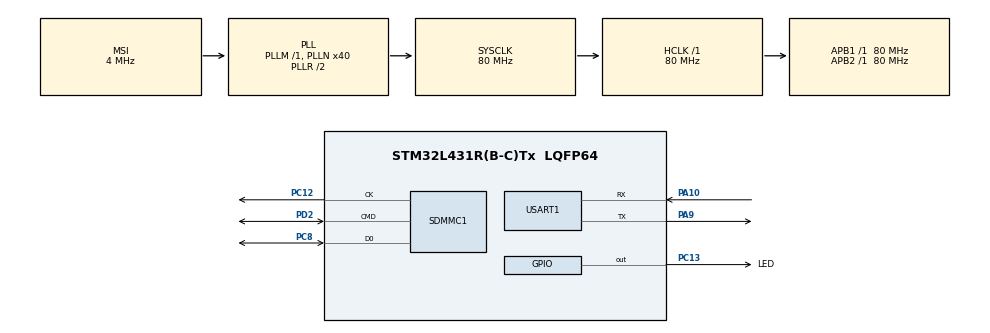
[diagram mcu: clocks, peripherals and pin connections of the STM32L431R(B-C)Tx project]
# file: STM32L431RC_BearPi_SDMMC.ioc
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Mcu.Family=STM32L4
Mcu.Name=STM32L431R(B-C)Tx
Mcu.Package=LQFP64
NVIC.PriorityGroup=NVIC_PRIORITYGROUP_4
PA10.Mode=Asynchronous
PA10.Signal=USART1_RX
PA9.Mode=Asynchronous
PA9.Signal=USART1_TX
PC12.Mode=SD_1_bit
PC12.Signal=SDMMC1_CK
PC13.GPIO_Label=LED
PC13.Signal=GPIO_Output
PC8.Mode=SD_1_bit
PC8.Signal=SDMMC1_D0
PD2.Mode=SD_1_bit
PD2.Signal=SDMMC1_CMD
ProjectManager.HeapSize=0x200
ProjectManager.StackSize=0x400
ProjectManager.TargetToolchain=MDK-ARM V5
RCC.ADCFreq_Value=48000000
RCC.AHBFreq_Value=80000000
RCC.APB1Freq_Value=80000000
RCC.APB1TimFreq_Value=80000000
RCC.APB2Freq_Value=80000000
RCC.APB2TimFreq_Value=80000000
RCC.CortexFreq_Value=80000000
RCC.HCLKFreq_Value=80000000
RCC.HSE_VALUE=8000000
RCC.HSI48_VALUE=48000000
RCC.HSI_VALUE=16000000
RCC.LSE_VALUE=32768
RCC.MSI_VALUE=4000000
RCC.PLLN=40
RCC.PLLSAI1N=24
RCC.PLLSAI1Q=RCC_PLLQ_DIV4
RCC.SYSCLKFreq_VALUE=80000000
RCC.SYSCLKSource=RCC_SYSCLKSOURCE_PLLCLK
RCC.VCOOutputFreq_Value=160000000
SDMMC1.ClockDiv=4
USART1.VirtualMode-Asynchronous=VM_ASYNC
board=custom

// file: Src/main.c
/* USER CODE BEGIN Header */
/**
  ******************************************************************************
  * @file           : main.c
  * @brief          : Main program body
  ******************************************************************************
  * @attention
  *
  * <h2><center>&copy; Copyright (c) 2020 STMicroelectronics.
  * All rights reserved.</center></h2>
  *
  * This software component is licensed by ST under BSD 3-Clause license,
  * the "License"; You may not use this file except in compliance with the
  * License. You may obtain a copy of the License at:
  *                        opensource.org/licenses/BSD-3-Clause
  *
  ******************************************************************************
  */
/* USER CODE END Header */

#include "main.h"
#include "sdmmc.h"
#include "usart.h"
#include "gpio.h"

/* USER CODE BEGIN Includes */
#include "stdio.h"
#include "string.h"
/* USER CODE END Includes */

/* USER CODE BEGIN PV */
HAL_SD_CardCIDTypeDef SD_CardCID;
#define BLOCK_SIZE          512         // 块大小
#define NUMBER_OF_BLOCKS    8           // 块数量
#define WRITE_READ_ADDRESS  0x00002000  // 读写地址
#define WRITE_READ_ADDRESS2 0x00004000  // 读写地址
uint32_t Buffer_Block_Tx[BLOCK_SIZE*NUMBER_OF_BLOCKS];          // 数据缓存
uint32_t Buffer_Block_Rx[BLOCK_SIZE*NUMBER_OF_BLOCKS] = {1,2};  // 数据缓存
HAL_StatusTypeDef sd_status;            // HAL 返回值
void ReadSD(void);
void SD_Write_Read_Test(int32_t addr, uint8_t* temp);
/* USER CODE END PV */

void SystemClock_Config(void);

int main(void)
{
  /* USER CODE BEGIN 1 */
	uint8_t temp[]="欢迎来到物联网俱乐部";
	uint8_t temp1[]="welcome to IOTS";
  /* USER CODE END 1 */

  /* MCU Configuration--------------------------------------------------------*/

  /* Reset of all peripherals, Initializes the Flash interface and the Systick. */
  HAL_Init();

  /* Configure the system clock */
  SystemClock_Config();

  /* Initialize all configured peripherals */
  MX_GPIO_Init();
  MX_SDMMC1_SD_Init();
  MX_USART1_UART_Init();
  /* USER CODE BEGIN 2 */
	ReadSD();  // 读取 SD 卡初始化参数
	HAL_SD_ReadBlocks(&hsd1, (uint8_t *)Buffer_Block_Rx, WRITE_READ_ADDRESS, NUMBER_OF_BLOCKS, 0xffff);
	printf("Read SD old data1: %s, address: %x\r\n", (char*)Buffer_Block_Rx, WRITE_READ_ADDRESS);
	memset(Buffer_Block_Rx, 0x00, sizeof(Buffer_Block_Rx));
		HAL_SD_ReadBlocks(&hsd1, (uint8_t *)Buffer_Block_Rx, WRITE_READ_ADDRESS2, NUMBER_OF_BLOCKS, 0xffff);
	printf("Read SD old data2: %s, address: %x\r\n", (char*)Buffer_Block_Rx, WRITE_READ_ADDRESS2);
	memset(Buffer_Block_Rx, 0x00, sizeof(Buffer_Block_Rx));
		SD_Write_Read_Test(WRITE_READ_ADDRESS, temp);
	memset(Buffer_Block_Rx, 0x00, sizeof(Buffer_Block_Rx));
		SD_Write_Read_Test(WRITE_READ_ADDRESS2, temp1);
	memset(Buffer_Block_Rx, 0x00, sizeof(Buffer_Block_Rx));
  /* USER CODE END 2 */

  /* Infinite loop */
  while (1)
  {

    /* USER CODE BEGIN 3 */
		HAL_GPIO_TogglePin(LED_GPIO_Port, LED_Pin);
		HAL_Delay(1000);
  }
  /* USER CODE END 3 */
}

void SystemClock_Config(void)
{
  RCC_OscInitTypeDef RCC_OscInitStruct = {0};
  RCC_ClkInitTypeDef RCC_ClkInitStruct = {0};
  RCC_PeriphCLKInitTypeDef PeriphClkInit = {0};

  /** Initializes the CPU, AHB and APB busses clocks
  */
  RCC_OscInitStruct.OscillatorType = RCC_OSCILLATORTYPE_MSI;
  RCC_OscInitStruct.MSIState = RCC_MSI_ON;
  RCC_OscInitStruct.MSICalibrationValue = 0;
  RCC_OscInitStruct.MSIClockRange = RCC_MSIRANGE_6;
  RCC_OscInitStruct.PLL.PLLState = RCC_PLL_ON;
  RCC_OscInitStruct.PLL.PLLSource = RCC_PLLSOURCE_MSI;
  RCC_OscInitStruct.PLL.PLLM = 1;
  RCC_OscInitStruct.PLL.PLLN = 40;
  RCC_OscInitStruct.PLL.PLLP = RCC_PLLP_DIV7;
  RCC_OscInitStruct.PLL.PLLQ = RCC_PLLQ_DIV2;
  RCC_OscInitStruct.PLL.PLLR = RCC_PLLR_DIV2;
  if (HAL_RCC_OscConfig(&RCC_OscInitStruct) != HAL_OK)
  {
    Error_Handler();
  }
  /** Initializes the CPU, AHB and APB busses clocks
  */
  RCC_ClkInitStruct.ClockType = RCC_CLOCKTYPE_HCLK|RCC_CLOCKTYPE_SYSCLK
                              |RCC_CLOCKTYPE_PCLK1|RCC_CLOCKTYPE_PCLK2;
  RCC_ClkInitStruct.SYSCLKSource = RCC_SYSCLKSOURCE_PLLCLK;
  RCC_ClkInitStruct.AHBCLKDivider = RCC_SYSCLK_DIV1;
  RCC_ClkInitStruct.APB1CLKDivider = RCC_HCLK_DIV1;
  RCC_ClkInitStruct.APB2CLKDivider = RCC_HCLK_DIV1;

  if (HAL_RCC_ClockConfig(&RCC_ClkInitStruct, FLASH_LATENCY_4) != HAL_OK)
  {
    Error_Handler();
  }
  PeriphClkInit.PeriphClockSelection = RCC_PERIPHCLK_USART1|RCC_PERIPHCLK_SDMMC1;
  PeriphClkInit.Usart1ClockSelection = RCC_USART1CLKSOURCE_PCLK2;
  PeriphClkInit.Sdmmc1ClockSelection = RCC_SDMMC1CLKSOURCE_PLLSAI1;
  PeriphClkInit.PLLSAI1.PLLSAI1Source = RCC_PLLSOURCE_MSI;
  PeriphClkInit.PLLSAI1.PLLSAI1M = 1;
  PeriphClkInit.PLLSAI1.PLLSAI1N = 24;
  PeriphClkInit.PLLSAI1.PLLSAI1P = RCC_PLLP_DIV7;
  PeriphClkInit.PLLSAI1.PLLSAI1Q = RCC_PLLQ_DIV4;
  PeriphClkInit.PLLSAI1.PLLSAI1R = RCC_PLLR_DIV2;
  PeriphClkInit.PLLSAI1.PLLSAI1ClockOut = RCC_PLLSAI1_48M2CLK;
  if (HAL_RCCEx_PeriphCLKConfig(&PeriphClkInit) != HAL_OK)
  {
    Error_Handler();
  }
  /** Configure the main internal regulator output voltage
  */
  if (HAL_PWREx_ControlVoltageScaling(PWR_REGULATOR_VOLTAGE_SCALE1) != HAL_OK)
  {
    Error_Handler();
  }
}

/* USER CODE BEGIN 4 */
void ReadSD(void)  // 读取 SD 出厂参数
{
	int State=0;
	State = HAL_SD_GetCardState(&hsd1);
	if(State == HAL_SD_CARD_TRANSFER)
	{
		HAL_SD_GetCardCID(&hsd1, &SD_CardCID);
		printf("\r\n Initialize SD card successfully!\r\n\r\n");
		printf(" SD card information! \r\n");
		printf(" CardCapacity  : %llu \r\n", ((unsigned long long)hsd1.SdCard.BlockSize*hsd1.SdCard.BlockNbr));
		printf(" CardBlockSize : %d \r\n", hsd1.SdCard.BlockSize);
		printf(" RCA           : %d \r\n", hsd1.SdCard.RelCardAdd);
		printf(" CardType      : %d \r\n", hsd1.SdCard.CardType);
		printf(" ManufacturerID: %d \r\n", SD_CardCID.ManufacturerID);
	}
	else {
		printf(" SD card init fail!\r\n");
		while(1);  // 停机
	}
}

void SD_Write_Read_Test(int32_t addr, uint8_t* temp)
{
//int i,j = 0;
	printf("\r\n\r\n ******** Write SD card data ******* \r\n");
	sd_status = HAL_SD_WriteBlocks(&hsd1, (uint8_t *)temp, addr, NUMBER_OF_BLOCKS, 0xffff);
	printf("Write data:%s, address:%x\r\n", temp, addr);
	HAL_Delay(480);
	if(sd_status == 0)
	{
		printf("Write data test is OS\r\n");
	}
	else
		printf("Write data test is fall!\r\n");
	printf("***** Read SD card data ******\r\n");
	sd_status = HAL_SD_ReadBlocks(&hsd1, (uint8_t *)Buffer_Block_Rx, addr, NUMBER_OF_BLOCKS, 0xffff);
	printf("ReadSDData:%s, address:%x\r\n", (char*)Buffer_Block_Rx, addr);
	if(sd_status == 0)
	{
		printf("Read data test is 0K\r\n");
	}
	else
		printf("Read data test is fall!\r\n");
}
/* USER CODE END 4 */

void Error_Handler(void)
{
}

/************************ (C) COPYRIGHT STMicroelectronics *****END OF FILE****/
